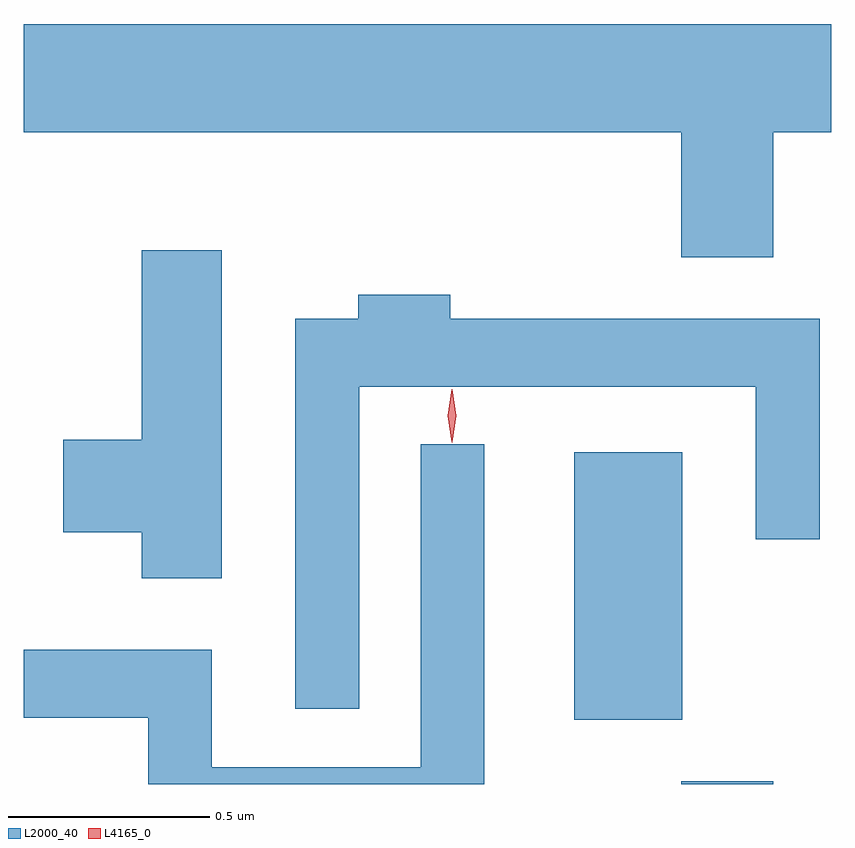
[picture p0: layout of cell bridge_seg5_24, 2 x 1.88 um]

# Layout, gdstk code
import gdstk
lib = gdstk.Library(unit=1e-6, precision=1e-09)
def R(c, l, rs):  # rectangles x0, y0, x1, y1
    for r in rs: c.add(gdstk.rectangle(r[:2], r[2:], *l))
def P(c, l, *ps):  # polygons
    for p in ps: c.add(gdstk.Polygon(p, *l))
L2000_40 = (2000, 40)
L4165_0 = (4165, 0)

bridge_seg5_24 = lib.new_cell('bridge_seg5_24')
R(bridge_seg5_24, L2000_40, [(1265.951,1470.722,1266.179,1470.729), (1265.686,1470.881,1265.954,1471.544)])
P(bridge_seg5_24, L2000_40, [(1266.179,1472.336),(1266.323,1472.336),(1266.323,1472.604),(1264.323,1472.604),(1264.323,1472.336),(1265.951,1472.336),(1265.951,1472.026),(1266.179,1472.026)],
  [(1264.814,1472.044),(1264.616,1472.044),(1264.616,1471.574),(1264.421,1471.574),(1264.421,1471.346),(1264.616,1471.346),(1264.616,1471.231),(1264.814,1471.231)],
  [(1265.154,1471.706),(1266.136,1471.706),(1266.136,1471.328),(1266.294,1471.328),(1266.294,1471.874),(1265.379,1471.874),(1265.379,1471.934),(1265.151,1471.934),(1265.151,1471.874),(1264.996,1471.874),(1264.996,1470.908),(1265.154,1470.908)],
  [(1265.464,1471.563),(1265.306,1471.563),(1265.306,1470.764),(1264.789,1470.764),(1264.789,1471.054),(1264.323,1471.054),(1264.323,1470.886),(1264.631,1470.886),(1264.631,1470.722),(1265.464,1470.722)])
P(bridge_seg5_24, L4165_0, [(1265.384,1471.567),(1265.383,1471.568),(1265.373,1471.634),(1265.383,1471.7),(1265.383,1471.7),(1265.384,1471.7),(1265.394,1471.634),(1265.384,1471.568)])

lib.write_gds('bridge_seg5_24.gds')
